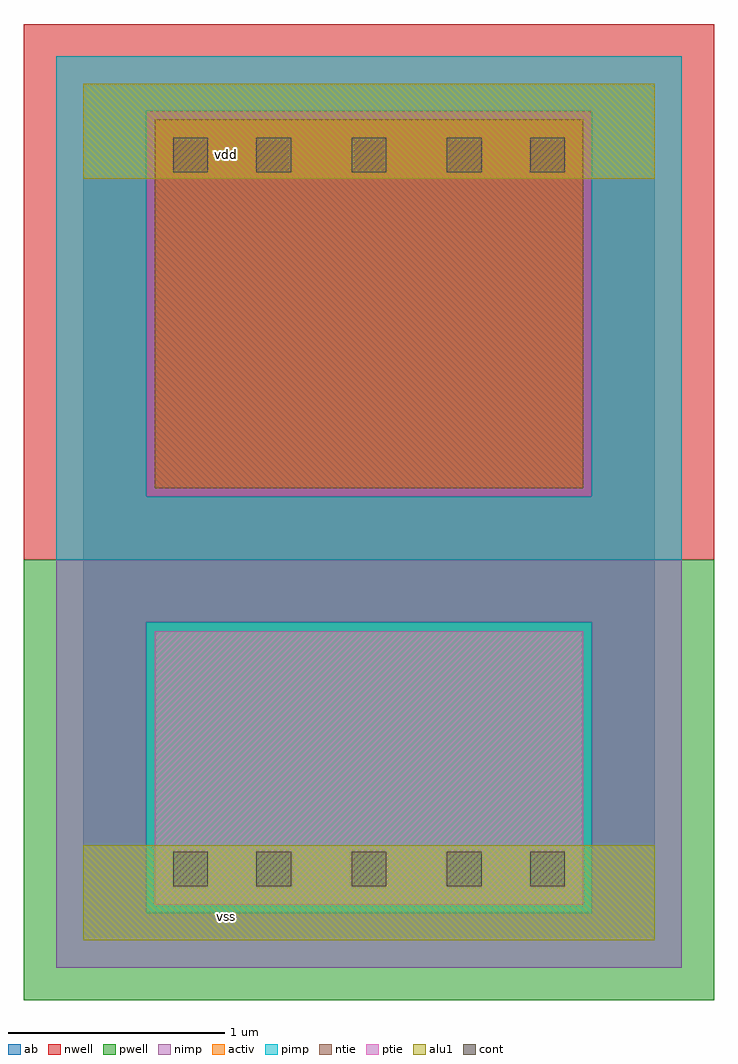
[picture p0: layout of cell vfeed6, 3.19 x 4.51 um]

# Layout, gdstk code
import gdstk
lib = gdstk.Library(unit=1e-6, precision=2.5e-09)
def R(c, l, rs):  # rectangles x0, y0, x1, y1
    for r in rs: c.add(gdstk.rectangle(r[:2], r[2:], *l))
def A(c, l, x, y, w, h, nx, ny, dx, dy):  # array of equal rectangles
    R(c, l, [(x+i*dx, y+j*dy, x+i*dx+w, y+j*dy+h) for i in range(nx) for j in range(ny)])
ntie = (5, 0)
ptie = (6, 0)
cont = (25, 0)
pwell = (41, 0)
nwell = (42, 0)
activ = (43, 0)
pimp = (44, 0)
nimp = (45, 0)
alu1 = (49, 0)
ab = (63, 0)

vfeed6 = lib.new_cell('vfeed6')
R(vfeed6, ntie, [(0.33,2.09,2.31,3.795)])
R(vfeed6, ptie, [(0.33,0.165,2.31,1.43)])
A(vfeed6, cont, 0.8, 0.25, 0.16, 0.16, 3, 2, 0.44, 3.3)
R(vfeed6, cont, [(0.415,0.25,0.575,0.41), (2.065,0.25,2.225,0.41), (0.415,3.55,0.575,3.71), (2.065,3.55,2.225,3.71)])
R(vfeed6, pwell, [(-0.275,-0.275,2.915,1.76)])
R(vfeed6, nwell, [(-0.275,1.76,2.915,4.235)])
R(vfeed6, activ, [(0.33,0.165,2.31,1.43), (0.33,2.09,2.31,3.795)])
R(vfeed6, pimp, [(0.29,0.125,2.35,1.47), (-0.125,1.76,2.765,2.05), (-0.125,2.05,0.29,3.835), (2.35,2.05,2.765,3.835), (-0.125,3.835,2.765,4.085)])
R(vfeed6, nimp, [(-0.125,-0.125,2.765,0.125), (-0.125,0.125,0.29,1.47), (2.35,0.125,2.765,1.47), (-0.125,1.47,2.765,1.76), (0.29,2.05,2.35,3.835)])
R(vfeed6, alu1, [(0,0,2.64,0.44), (0,3.52,2.64,3.96)])
R(vfeed6, ab, [(0,0,2.64,3.96)])
vfeed6.add(gdstk.Label('vss', (0.66,0.11), layer=49, texttype=0))
vfeed6.add(gdstk.Label('vdd', (0.66,3.63), layer=49, texttype=0))

lib.write_gds('vfeed6.gds')
